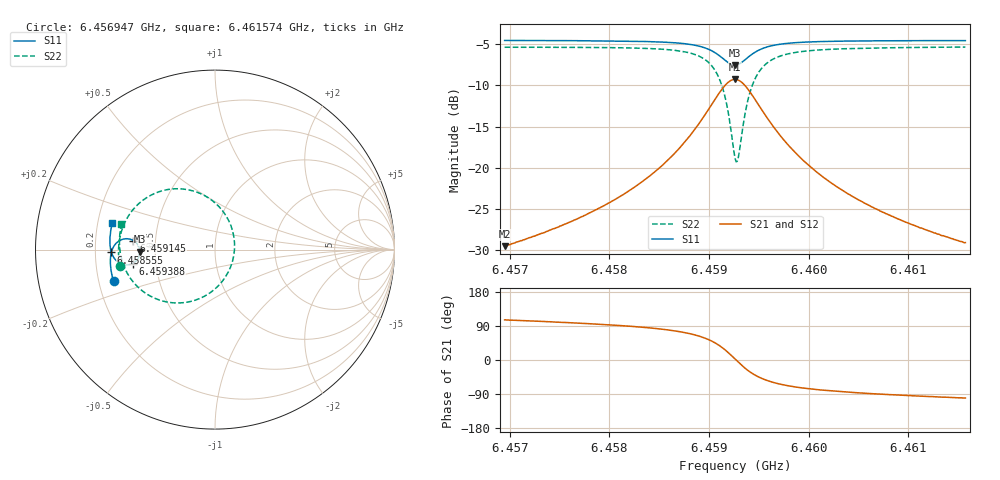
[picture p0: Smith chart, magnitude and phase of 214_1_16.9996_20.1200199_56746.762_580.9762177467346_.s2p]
#  HZ  S  RI  R  50.00
! Rohde & Schwarz Vector Network Analyzer
! Rohde-Schwarz,ZNB20-2Port,1311601062101988,3.16
! Created: UTC 3/20/2024, 11:01:41 PM
! freq[Hz]  re:S11  im:S11  re:S21  im:S21  re:S12  im:S12  re:S22  im:S22
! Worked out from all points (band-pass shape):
!   401 points, 6.456947 GHz to 6.461574 GHz, reference 50 ohm
!   highest |S21| = -9.27 dB at 6.45926 GHz (marker M1); lowest = -29.5 dB at 6.456947 GHz (marker M2)
!   |S21| within 3 dB of the highest: 6.459029 GHz to 6.459492 GHz (463.2 kHz wide, 0.00717 % of centre)
!   lowest |S11| = -7.6 dB at 6.45926 GHz (marker M3), VSWR 2.44, Z = 20.5 - j0.607 ohm
!   |S11| at or under -10 dB: nowhere
!   |S22| runs from -19.3 to -5.3 dB; largest |S21 - S12| = 0.013
!   S11 on the Smith chart (normalised r, x): 6.456947 GHz: 0.26, -0.14; 6.458555 GHz: 0.27, -0.01; 6.459145 GHz: 0.37, +0.05; 6.459388 GHz: 0.37, -0.07; 6.461574 GHz: 0.26, +0.12
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6.4569467e9  -0.5655 -0.1757  -0.00914 0.0322  -0.00743 0.0321  -0.5309 -0.0907
6.4577219e9  -0.5802 -0.1082  -0.00597 0.0502  -0.00339 0.0495  -0.5373 -0.000523
6.4581383e9  -0.5832 -0.0666  -0.000408 0.0688  0.00284 0.0675  -0.5302 0.065
6.458497e9  -0.5797 -0.0239  0.0135 0.0983  0.0175 0.0957  -0.505 0.1451
6.4585548e9  -0.5778 -0.016  0.0177 0.1053  0.022 0.1022  -0.4972 0.1616
6.458763e9  -0.5651 0.0162  0.0449 0.1377  0.0492 0.1329  -0.4463 0.2346
6.4589134e9  -0.5425 0.0427  0.09 0.1684  0.093 0.1617  -0.3636 0.2994
6.4590523e9  -0.499 0.0604  0.1767 0.1853  0.1777 0.178  -0.2053 0.3391
6.4591448e9  -0.4546 0.0504  0.2664 0.1546  0.2667 0.1487  -0.0392 0.2899
6.4591911e9  -0.4334 0.0317  0.3101 0.1122  0.3112 0.1069  0.0435 0.2144
6.4592605e9  -0.4185 -0.0122  0.3435 0.0157  0.3473 0.00887  0.1089 0.0356
6.4592721e9  -0.4189 -0.0203  0.3433 -0.00187  0.3472 -0.00941  0.1087 0.00232
6.4592952e9  -0.4224 -0.0358  0.338 -0.0363  0.3419 -0.0455  0.098 -0.063
6.4593415e9  -0.4379 -0.0617  0.3099 -0.0962  0.3122 -0.1078  0.0415 -0.1757
6.4593878e9  -0.4596 -0.078  0.2682 -0.1372  0.2675 -0.1502  -0.0427 -0.2507
6.4594803e9  -0.5029 -0.0848  0.1841 -0.1685  0.178 -0.1801  -0.2103 -0.2973
6.4596307e9  -0.5467 -0.0645  0.0966 -0.1554  0.0884 -0.1616  -0.3772 -0.2493
6.4597927e9  -0.5682 -0.0369  0.0518 -0.1278  0.0443 -0.1306  -0.4576 -0.1779
6.4600356e9  -0.5811 -0.00131  0.0226 -0.0965  0.0169 -0.0972  -0.5059 -0.096
6.4603942e9  -0.5857 0.041  0.00631 -0.0692  0.00228 -0.0689  -0.528 -0.0151
6.4608107e9  -0.5837 0.0826  -0.00128 -0.0517  -0.00406 -0.0508  -0.5323 0.051
6.4615742e9  -0.5717 0.1501  -0.00631 -0.0346  -0.00802 -0.0334  -0.5215 0.1409
